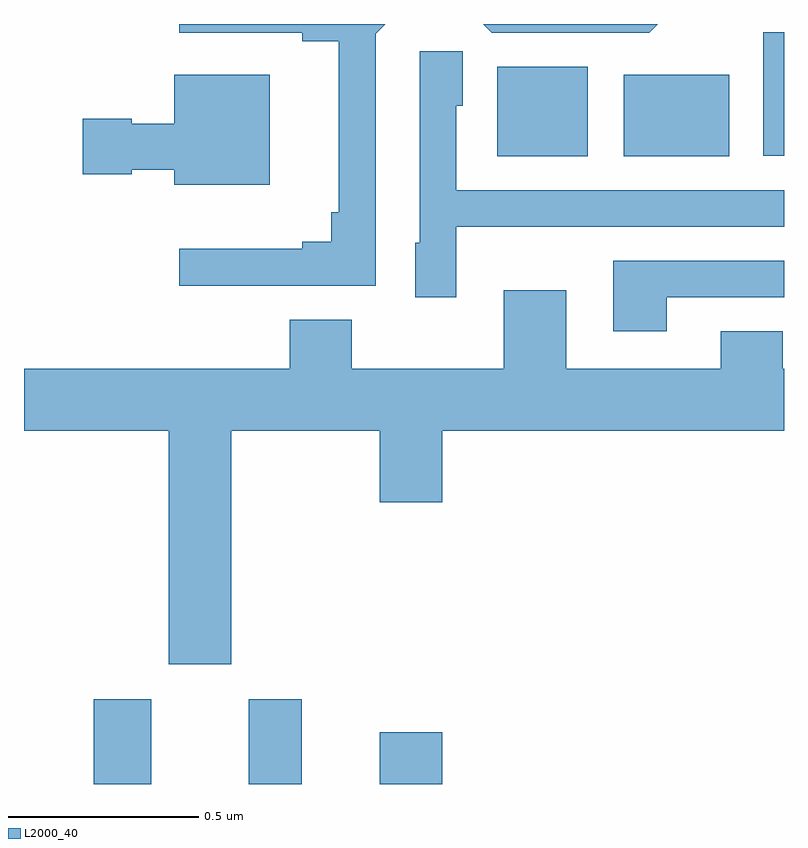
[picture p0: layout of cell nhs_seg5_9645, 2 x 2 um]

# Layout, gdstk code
import gdstk
lib = gdstk.Library(unit=1e-6, precision=1e-09)
def R(c, l, rs):  # rectangles x0, y0, x1, y1
    for r in rs: c.add(gdstk.rectangle(r[:2], r[2:], *l))
def P(c, l, *ps):  # polygons
    for p in ps: c.add(gdstk.Polygon(p, *l))
L2000_40 = (2000, 40)

nhs_seg5_9645 = lib.new_cell('nhs_seg5_9645')
R(nhs_seg5_9645, L2000_40, [(236.183,887.799,236.335,888.022), (236.591,887.799,236.731,888.022), (236.936,887.799,237.1,887.935), (237.245,889.451,237.484,889.687), (237.578,889.451,237.856,889.666), (237.945,889.452,238,889.777)])
P(nhs_seg5_9645, L2000_40, [(237.668,889.799),(237.208,889.799),(237.231,889.776),(237.645,889.776)],
  [(236.925,889.773),(236.951,889.799),(236.409,889.799),(236.409,889.776),(236.732,889.776),(236.732,889.754),(236.828,889.754),(236.828,889.303),(236.809,889.303),(236.809,889.226),(236.732,889.226),(236.732,889.207),(236.409,889.207),(236.409,889.11),(236.925,889.11)],
  [(237.138,889.265),(237.455,889.265),(237.455,889.266),(238,889.266),(238,889.362),(237.138,889.362),(237.138,889.584),(237.154,889.584),(237.154,889.727),(237.042,889.727),(237.042,889.224),(237.029,889.224),(237.029,889.08),(237.138,889.08)],
  [(236.647,889.666),(236.396,889.666),(236.396,889.537),(236.283,889.537),(236.283,889.55),(236.154,889.55),(236.154,889.403),(236.283,889.403),(236.283,889.415),(236.396,889.415),(236.396,889.376),(236.647,889.376)],
  [(237.691,889.08),(238,889.08),(238,889.176),(237.551,889.176),(237.551,888.99),(237.691,888.99)],
  [(236.545,888.728),(236.936,888.728),(236.936,888.54),(237.1,888.54),(237.1,888.728),(238,888.728),(238,888.892),(237.997,888.892),(237.997,888.991),(237.833,888.991),(237.833,888.892),(237.427,888.892),(237.427,889.099),(237.263,889.099),(237.263,888.892),(236.863,888.892),(236.863,889.021),(236.699,889.021),(236.699,888.892),(236,888.892),(236,888.728),(236.381,888.728),(236.381,888.114),(236.545,888.114)])

lib.write_gds('nhs_seg5_9645.gds')
